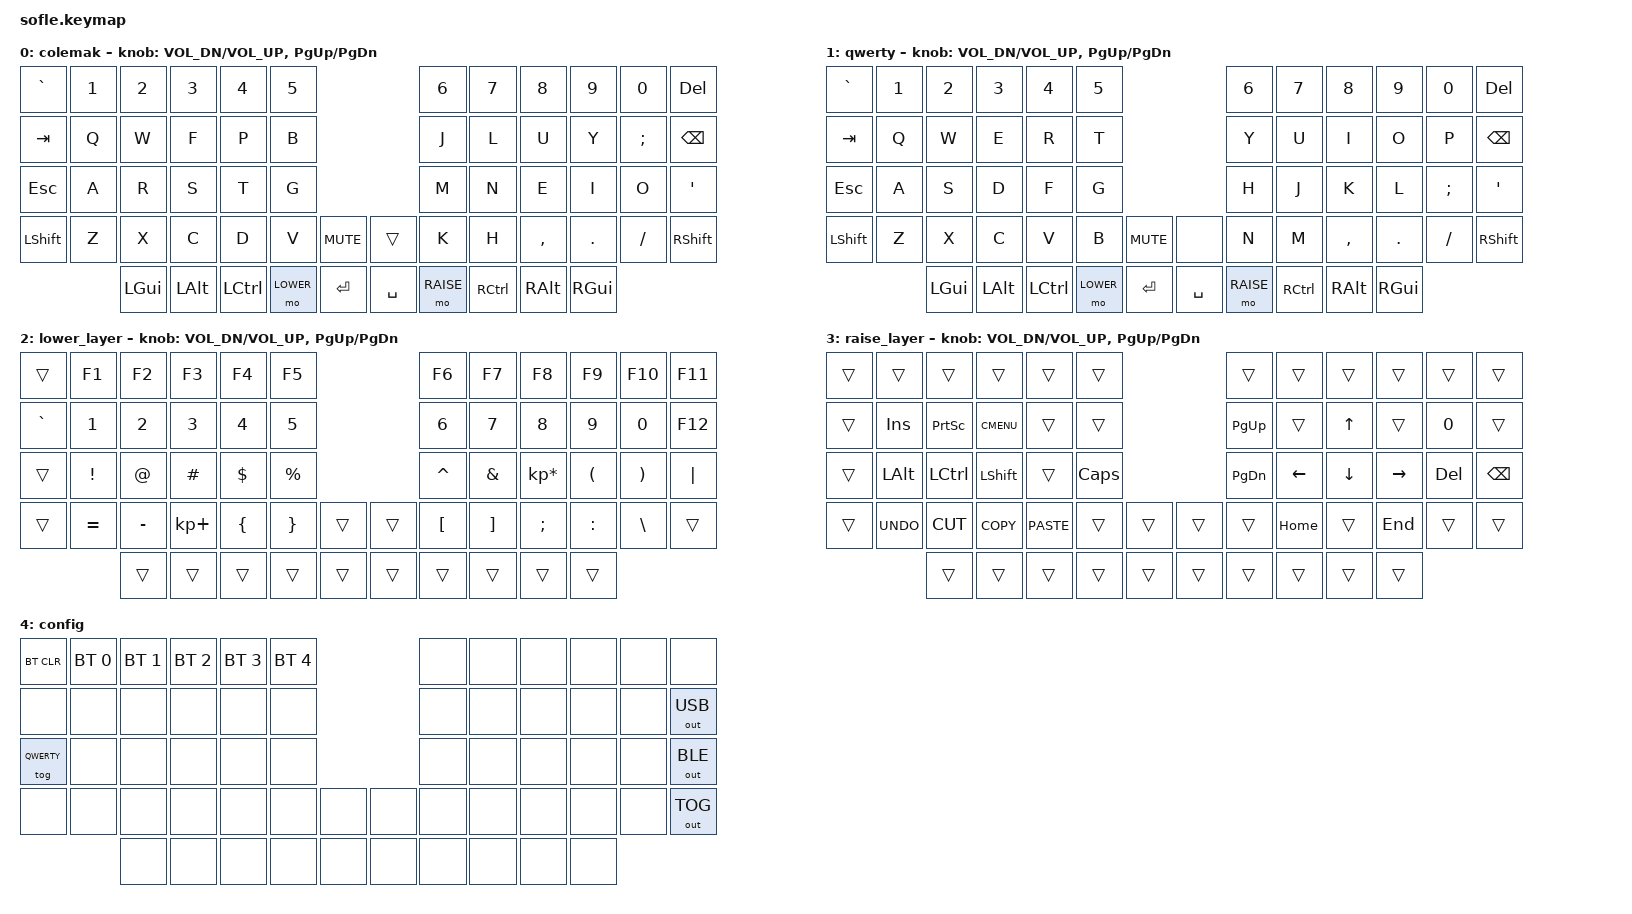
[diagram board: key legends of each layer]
/*
 * Copyright (c) 2020 The ZMK Contributors
 *
 * SPDX-License-Identifier: MIT
 */

#include <behaviors.dtsi>
#include <dt-bindings/zmk/keys.h>
#include <dt-bindings/zmk/bt.h>
#include <dt-bindings/zmk/outputs.h>

#define COLEMAK 0
#define QWERTY  1
#define LOWER   2
#define RAISE   3
#define CONFIG  4

/ {
    conditional_layers {
        compatible = "zmk,conditional-layers";
        tri_layer {
            if-layers = <LOWER RAISE>;
            then-layer = <CONFIG>;
        };
    };

    keymap {
        compatible = "zmk,keymap";
        
        colemak {
// ------------------------------------------------------------------------------------------------------------
// |  `    |  1  |  2  |  3   |  4   |  5   |                   |  6   |  7    |  8    |  9   |   0   | DELETE|
// |  TAB  |  Q  |  W  |  F   |  P   |  B   |                   |  J   |  L    |  U    |  Y   |   ;   | BKSPC |
// |  ESC  |  A  |  R  |  S   |  T   |  G   |                   |  M   |  N    |  E    |  I   |   O   |   '   |
// | SHIFT |  Z  |  X  |  C   |  D   |  V   |  MUTE  |  |       |  K   |  H    |  ,    |  .   |   /   | SHIFT |
//               | GUI | ALT  | CTRL | LOWER|  ENTER |  | SPACE | RAISE| CTRL  | ALT   | GUI  |
            bindings = <
&kp GRAVE &kp N1 &kp N2   &kp N3   &kp N4    &kp N5                         &kp N6    &kp N7    &kp N8    &kp N9   &kp N0   &kp DELETE
&kp TAB   &kp Q  &kp W    &kp F    &kp P     &kp B                          &kp J     &kp L     &kp U     &kp Y    &kp SEMI &kp BSPC
&kp ESC   &kp A  &kp R    &kp S    &kp T     &kp G                          &kp M     &kp N     &kp E     &kp I    &kp O    &kp SQT
&kp LSHFT &kp Z  &kp X    &kp C    &kp D     &kp V     &kp C_MUTE &trans    &kp K     &kp H     &kp COMMA &kp DOT  &kp FSLH &kp RSHFT
                 &kp LGUI &kp LALT &kp LCTRL &mo LOWER &kp RET    &kp SPACE &mo RAISE &kp RCTRL &kp RALT  &kp RGUI
            >;

            sensor-bindings = <&inc_dec_kp C_VOL_DN C_VOL_UP &inc_dec_kp PG_UP PG_DN>;
        };
        
        qwerty {
// ------------------------------------------------------------------------------------------------------------
// |  `    |  1  |  2  |  3   |  4   |  5   |                   |  6   |  7    |  8    |  9   |   0   | DELETE|
// |  TAB  |  Q  |  W  |  E   |  R   |  T   |                   |  Y   |  U    |  I    |  O   |   P   | BKSPC |
// |  ESC  |  A  |  S  |  D   |  F   |  G   |                   |  H   |  J    |  K    |  L   |   ;   |   '   |
// | SHIFT |  Z  |  X  |  C   |  V   |  B   |  MUTE  |  |       |  N   |  M    |  ,    |  .   |   /   | SHIFT |
//               | GUI | ALT  | CTRL | LOWER|  ENTER |  | SPACE | RAISE| CTRL  | ALT   | GUI  |
            bindings = <
&kp GRAVE &kp N1 &kp N2   &kp N3   &kp N4    &kp N5                         &kp N6    &kp N7    &kp N8    &kp N9   &kp N0   &kp DELETE
&kp TAB   &kp Q  &kp W    &kp E    &kp R     &kp T                          &kp Y     &kp U     &kp I     &kp O    &kp P    &kp BSPC
&kp ESC   &kp A  &kp S    &kp D    &kp F     &kp G                          &kp H     &kp J     &kp K     &kp L    &kp SEMI &kp SQT
&kp LSHFT &kp Z  &kp X    &kp C    &kp V     &kp B   &kp C_MUTE &none       &kp N     &kp M     &kp COMMA &kp DOT  &kp FSLH &kp RSHFT
                 &kp LGUI &kp LALT &kp LCTRL &mo LOWER &kp RET    &kp SPACE &mo RAISE &kp RCTRL &kp RALT  &kp RGUI
            >;

            sensor-bindings = <&inc_dec_kp C_VOL_DN C_VOL_UP &inc_dec_kp PG_UP PG_DN>;
        };

        lower_layer {
// TODO: Some binds are waiting for shifted keycode support.
// ------------------------------------------------------------------------------------------------------------
// |       |  F1 |  F2 |  F3  |  F4  |  F5  |                   |  F6  |  F7   |  F8   |  F9  |  F10  |  F11  |
// | `     |  1  |  2  |  3   |  4   |  5   |                   |  6   |  7    |  8    |  9   |   0   |  F12  |
// |       |  !  |  @  |  #   |  $   |  %   |                   |  ^   |  &    |  *    |  (   |   )   |   |   |
// |       |  =  |  -  |  +   |  {   |  }   |        |  |       |  [   |  ]    |  ;    |  :   |   \   |       |
//               |     |      |      |      |        |  |       |      |       |       |      |
            bindings = <
&trans    &kp F1    &kp F2    &kp F3      &kp F4    &kp F5                    &kp F6    &kp F7   &kp F8          &kp F9    &kp F10   &kp F11
&kp GRAVE &kp N1    &kp N2    &kp N3      &kp N4    &kp N5                    &kp N6    &kp N7   &kp N8          &kp N9    &kp N0    &kp F12
&trans    &kp EXCL  &kp AT    &kp HASH    &kp DLLR  &kp PRCNT                 &kp CARET &kp AMPS &kp KP_MULTIPLY &kp LPAR  &kp RPAR  &kp PIPE
&trans    &kp EQUAL &kp MINUS &kp KP_PLUS &kp LBRC  &kp RBRC  &trans   &trans &kp LBKT  &kp RBKT &kp SEMI        &kp COLON &kp BSLH  &trans
                    &trans    &trans      &trans    &trans    &trans   &trans &trans    &trans   &trans          &trans
            >;

            sensor-bindings = <&inc_dec_kp C_VOL_DN C_VOL_UP &inc_dec_kp PG_UP PG_DN>;
        };

        raise_layer {
// ------------------------------------------------------------------------------------------------------------
// |     |      |      |       |       |      |                |      |      |       |      |       |       |
// |     | INS  | PSCR | GUI   |       |      |                | PGUP |      |   ^   |      |       |       |
// |     | ALT  | CTRL | SHIFT |       | CAPS |                | PGDN |   <- |   v   |  ->  |  DEL  | BKSPC |
// |     | UNDO | CUT  | COPY  | PASTE |      |      |  |      |      | HOME |       | END  |       |       |
//              |      |       |       |      |      |  |      |      |      |       |      |
            bindings = <
&trans     &trans       &trans       &trans       &trans       &trans                   &trans    &trans    &trans   &trans    &trans  &trans
&trans     &kp INS      &kp PSCRN    &kp K_CMENU  &trans       &trans                   &kp PG_UP &trans    &kp UP   &trans    &kp N0  &trans
&trans     &kp LALT     &kp LCTRL    &kp LSHFT    &trans       &kp CLCK                 &kp PG_DN &kp LEFT  &kp DOWN &kp RIGHT &kp DEL &kp BSPC
&trans     &kp K_UNDO   &kp K_CUT    &kp K_COPY   &kp K_PASTE  &trans  &trans   &trans  &trans    &kp HOME  &trans   &kp END   &trans  &trans
                        &trans       &trans       &trans       &trans  &trans   &trans  &trans    &trans    &trans   &trans
            >;

            sensor-bindings = <&inc_dec_kp C_VOL_DN C_VOL_UP &inc_dec_kp PG_UP PG_DN>;
        };
        
        config {
// ------------------------------------------------------------------------------------------------------------
// | BTCLR | BT1  | BT2  | BT3  | BT4  | BT5  |                |      |      |      |      |      |       |
// |       |      |      |      |      |      |                |      |      |      |      |      |OUT_USB|
// | QWERTY|      |      |      |      |      |                |      |      |      |      |      |OUT_BLE|
// |       |      |      |      |      |      |      |  |      |      |      |      |      |      |OUT_TOG|
//                |      |      |      |      |      |  |      |      |      |      |      |      |
            bindings = <
&bt BT_CLR  &bt BT_SEL 0 &bt BT_SEL 1 &bt BT_SEL 2 &bt BT_SEL 3 &bt BT_SEL 4               &none &none &none &none &none &none
&none       &none        &none        &none        &none        &none                      &none &none &none &none &none &out OUT_USB
&tog QWERTY &none        &none        &none        &none        &none                      &none &none &none &none &none &out OUT_BLE
&none       &none        &none        &none        &none        &none       &none   &none  &none &none &none &none &none &out OUT_TOG
            &none        &none        &none        &none        &none       &none   &none  &none &none &none
            >;
        };
    };
};
